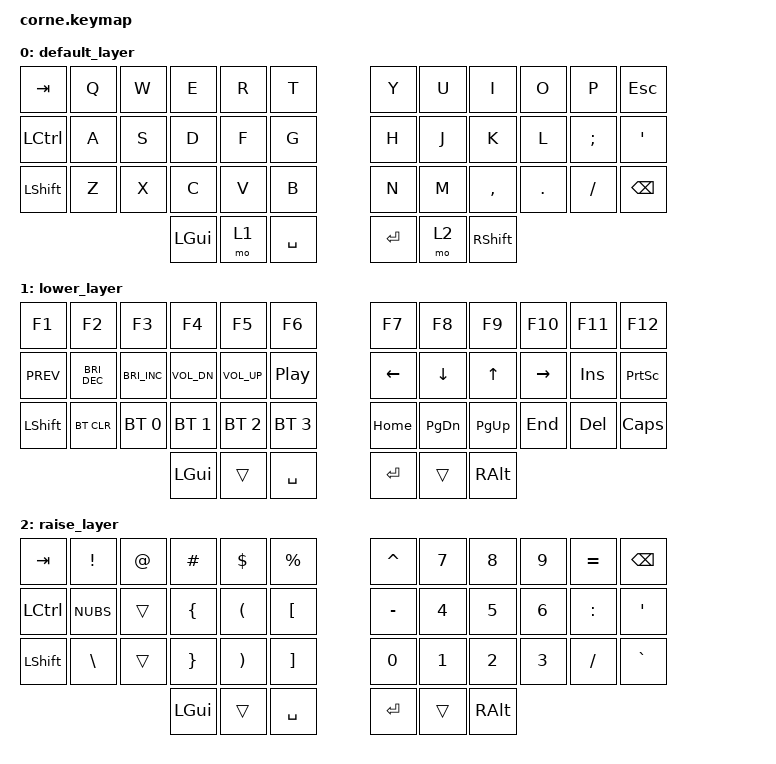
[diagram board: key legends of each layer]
/*
 * Copyright (c) 2020 The ZMK Contributors
 *
 * SPDX-License-Identifier: MIT
 */

#include <behaviors.dtsi>
#include <dt-bindings/zmk/bt.h>
#include <dt-bindings/zmk/keys.h>

/ {
    combos {
        compatible = "zmk,combos";

        combo_del {
            timeout-ms = <100>;
            key-positions = <39 38>;
            bindings = <&kp DEL>;
        };

        combo_lang {
            timeout-ms = <40>;
            key-positions = <15 14>;
            bindings = <&kp LANG1>;
        };

        combo_under {
            timeout-ms = <40>;
            key-positions = <21 20>;
            bindings = <&kp UNDER>;
        };

        combo_cut {
            bindings = <&kp LC(X)>;
            timeout-ms = <40>;
            key-positions = <26 27>;
        };

        combo_copy {
            bindings = <&kp LC(C)>;
            timeout-ms = <40>;
            key-positions = <27 28>;
        };

        combo_paste {
            bindings = <&kp LC(V)>;
            timeout-ms = <40>;
            key-positions = <28 29>;
        };

        combo_undo {
            bindings = <&kp LC(Z)>;
            key-positions = <25 26>;
            timeout-ms = <40>;
        };

        combo_equal {
            bindings = <&kp EQUAL>;
            key-positions = <19 20>;
            timeout-ms = <40>;
        };

        combo_plus {
            bindings = <&kp PLUS>;
            key-positions = <7 8>;
            timeout-ms = <40>;
        };

        combo_caps {
            bindings = <&kp CAPS>;
            key-positions = <2 3>;
        };

        lan_change {
            bindings = <&kp RIGHT_ALT>;
            key-positions = <9 8>;
        };
    };

    keymap {
        compatible = "zmk,keymap";

        default_layer {
            // -----------------------------------------------------------------------------------------
            // |  TAB |  Q  |  W  |  E  |  R  |  T  |   |  Y  |  U   |  I  |  O  |  P  | BKSP |
            // | CTRL |  A  |  S  |  D  |  F  |  G  |   |  H  |  J   |  K  |  L  |  ;  |  '   |
            // | SHFT |  Z  |  X  |  C  |  V  |  B  |   |  N  |  M   |  ,  |  .  |  /  | ESC  |
            //                    | GUI | LWR | SPC |   | ENT | RSE  | RSHIFT |
            //                                     | DEL |

            bindings = <
&kp TAB    &kp Q  &kp W  &kp E     &kp R  &kp T        &kp Y    &kp U  &kp I       &kp O    &kp P     &kp ESC
&kp LCTRL  &kp A  &kp S  &kp D     &kp F  &kp G        &kp H    &kp J  &kp K       &kp L    &kp SEMI  &kp SQT
&kp LSHFT  &kp Z  &kp X  &kp C     &kp V  &kp B        &kp N    &kp M  &kp COMMA   &kp DOT  &kp FSLH  &kp BSPC
                         &kp LGUI  &mo 1  &kp SPACE    &kp RET  &mo 2  &kp RSHIFT
            >;
        };

        lower_layer {
            // -----------------------------------------------------------------------------------------
            // |  F1  | F2   | F3   | F4   | F5   | F6         |   | F7   | F8  | F9   | F10  | F11 | F12   |
            // | Prev | Next | MUTE | VOL- | VOL+ | Play/Pause |   | LFT  | DWN |  UP  | RGT  | INS | PrtSc |
            // | BTCLR| BT1  | BT2  | BT3  | BT4  | BT5        |   | HOME | END | PgUp | PgDn | DEL | CAPS  |
            //                    | GUI |     | SPC |                  | ENT |     | ALT |

            bindings = <
&kp F1      &kp F2                &kp F3                &kp F4        &kp F5        &kp F6          &kp F7    &kp F8         &kp F9     &kp F10    &kp F11  &kp F12
&kp C_PREV  &kp C_BRIGHTNESS_DEC  &kp C_BRIGHTNESS_INC  &kp C_VOL_DN  &kp C_VOL_UP  &kp C_PP        &kp LEFT  &kp DOWN       &kp UP     &kp RIGHT  &kp INS  &kp PSCRN
&kp LSHIFT  &bt BT_CLR            &bt BT_SEL 0          &bt BT_SEL 1  &bt BT_SEL 2  &bt BT_SEL 3    &kp HOME  &kp PAGE_DOWN  &kp PG_UP  &kp END    &kp DEL  &kp CAPS
                                                        &kp LGUI      &trans        &kp SPACE       &kp RET   &trans         &kp RALT
            >;
        };

        raise_layer {
            // -----------------------------------------------------------------------------------------
            // |  TAB |  !  |  @  |  #  |  $  |  %  |   |  ^  |  7  |  8  |  9  |  =  | BKSP |
            // | CTRL |  \  |     |  {  |  (  |  [  |   |  -  |  4  |  5  |  6  |  :  |  '   |
            // | SHFT |     |     |  }  |  )  |  ]  |   |  0  |  1  |  2  |  3  |  /  |  `   |
            //                    | GUI |     | SPC |   | ENT |     | ALT |

            bindings = <
&kp TAB    &kp EXCL       &kp AT  &kp HASH  &kp DLLR  &kp PRCNT    &kp CARET  &kp N7  &kp N8    &kp N9  &kp EQUAL  &kp BSPC
&kp LCTRL  &kp NUBS       &trans  &kp LBRC  &kp LPAR  &kp LBKT     &kp MINUS  &kp N4  &kp N5    &kp N6  &kp COLON  &kp SQT
&kp LSHFT  &kp BACKSLASH  &trans  &kp RBRC  &kp RPAR  &kp RBKT     &kp N0     &kp N1  &kp N2    &kp N3  &kp FSLH   &kp GRAVE
                                  &kp LGUI  &trans    &kp SPACE    &kp RET    &trans  &kp RALT
            >;
        };
    };
};
